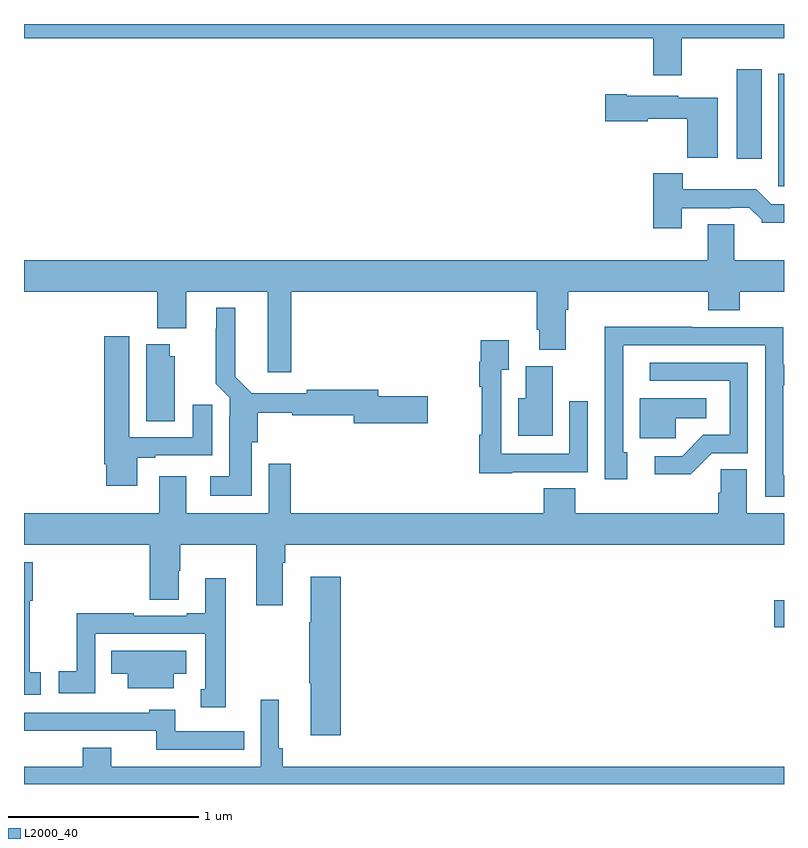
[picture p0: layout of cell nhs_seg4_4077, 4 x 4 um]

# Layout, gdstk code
import gdstk
lib = gdstk.Library(unit=1e-6, precision=1e-09)
def R(c, l, rs):  # rectangles x0, y0, x1, y1
    for r in rs: c.add(gdstk.rectangle(r[:2], r[2:], *l))
def P(c, l, *ps):  # polygons
    for p in ps: c.add(gdstk.Polygon(p, *l))
L2000_40 = (2000, 40)

nhs_seg4_4077 = lib.new_cell('nhs_seg4_4077')
R(nhs_seg4_4077, L2000_40, [(330.948,789.725,331,789.867), (330.971,792.045,331,792.637), (330.752,792.192,330.883,792.661)])
P(nhs_seg4_4077, L2000_40, [(330.463,792.824),(331,792.824),(331,792.9),(327,792.9),(327,792.824),(330.311,792.824),(330.311,792.63),(330.463,792.63)],
  [(330.652,792.511),(330.444,792.511),(330.444,792.523),(330.172,792.523),(330.172,792.531),(330.06,792.531),(330.06,792.389),(330.282,792.389),(330.282,792.401),(330.49,792.401),(330.49,792.197),(330.652,792.197)],
  [(330.463,791.931),(330.719,791.931),(330.719,791.934),(330.818,791.934),(330.882,791.87),(330.882,791.855),(331,791.855),(331,791.952),(330.933,791.952),(330.855,792.031),(330.466,792.031),(330.466,792.115),(330.311,792.115),(330.311,791.826),(330.463,791.826)],
  [(328.406,791.492),(329.699,791.492),(329.699,791.29),(329.711,791.29),(329.711,791.185),(329.851,791.185),(329.851,791.396),(329.864,791.396),(329.864,791.492),(330.602,791.492),(330.602,791.393),(330.767,791.393),(330.767,791.492),(331,791.492),(331,791.656),(330.739,791.656),(330.739,791.846),(330.599,791.846),(330.599,791.656),(327,791.656),(327,791.492),(327.701,791.492),(327.701,791.3),(327.853,791.3),(327.853,791.492),(328.283,791.492),(328.283,791.067),(328.406,791.067)],
  [(328.198,790.698),(328.229,790.698),(328.229,790.855),(328.412,790.855),(328.412,790.84),(328.736,790.84),(328.736,790.798),(329.125,790.798),(329.125,790.94),(328.864,790.94),(328.864,790.976),(328.489,790.976),(328.489,790.956),(328.198,790.956),(328.111,791.044),(328.111,791.407),(328.013,791.407),(328.013,791.297),(328.009,791.297),(328.009,791.006),(328.083,790.932),(328.083,790.838),(328.079,790.838),(328.079,790.519),(327.981,790.519),(327.981,790.418),(328.198,790.418)],
  [(331,790.524),(330.997,790.524),(330.997,790.998),(331,790.998),(331,791.106),(330.996,791.106),(330.996,791.304),(330.518,791.304),(330.518,791.306),(330.056,791.306),(330.056,791.002),(330.057,791.002),(330.057,790.503),(330.175,790.503),(330.175,790.647),(330.153,790.647),(330.153,791.208),(330.9,791.208),(330.9,790.413),(331,790.413)],
  [(327.595,790.617),(327.691,790.617),(327.691,790.629),(327.991,790.629),(327.991,790.897),(327.887,790.897),(327.887,790.725),(327.553,790.725),(327.553,791.257),(327.422,791.257),(327.422,790.582),(327.434,790.582),(327.434,790.47),(327.595,790.47)],
  [(329.571,790.542),(329.967,790.542),(329.967,790.915),(329.871,790.915),(329.871,790.638),(329.511,790.638),(329.511,791.08),(329.551,791.08),(329.551,791.236),(329.403,791.236),(329.403,791.123),(329.395,791.123),(329.395,790.991),(329.41,790.991),(329.41,790.739),(329.395,790.739),(329.395,790.535),(329.571,790.535)],
  [(327.793,791.151),(327.766,791.151),(327.766,791.215),(327.644,791.215),(327.644,790.81),(327.793,790.81)],
  [(330.621,790.641),(330.81,790.641),(330.81,791.118),(330.294,791.118),(330.294,791.022),(330.714,791.022),(330.714,790.737),(330.576,790.737),(330.465,790.626),(330.321,790.626),(330.321,790.529),(330.508,790.529)],
  [(329.782,791.1),(329.642,791.1),(329.642,790.93),(329.6,790.93),(329.6,790.733),(329.782,790.733)],
  [(330.429,790.826),(330.592,790.826),(330.592,790.93),(330.242,790.93),(330.242,790.719),(330.429,790.719)],
  [(328.363,790.064),(328.376,790.064),(328.376,790.16),(331,790.16),(331,790.324),(330.805,790.324),(330.805,790.556),(330.666,790.556),(330.666,790.433),(330.653,790.433),(330.653,790.324),(329.9,790.324),(329.9,790.457),(329.735,790.457),(329.735,790.324),(328.403,790.324),(328.403,790.585),(328.287,790.585),(328.287,790.324),(327.853,790.324),(327.853,790.519),(327.713,790.519),(327.713,790.324),(327,790.324),(327,790.16),(327.662,790.16),(327.662,789.871),(327.814,789.871),(327.814,790.022),(327.822,790.022),(327.822,790.16),(328.223,790.16),(328.223,789.84),(328.363,789.84)],
  [(327.088,789.489),(327.03,789.489),(327.03,789.865),(327.047,789.865),(327.047,790.068),(327,790.068),(327,789.369),(327.088,789.369)],
  [(328.667,789.991),(328.508,789.991),(328.508,789.752),(328.501,789.752),(328.501,789.43),(328.508,789.43),(328.508,789.156),(328.667,789.156)],
  [(328.063,789.982),(327.953,789.982),(327.953,789.799),(327.857,789.799),(327.857,789.786),(327.578,789.786),(327.578,789.799),(327.277,789.799),(327.277,789.494),(327.183,789.494),(327.183,789.378),(327.375,789.378),(327.375,789.69),(327.954,789.69),(327.954,789.399),(327.929,789.399),(327.929,789.305),(328.063,789.305)],
  [(327.787,789.479),(327.853,789.479),(327.853,789.601),(327.46,789.601),(327.46,789.479),(327.545,789.479),(327.545,789.404),(327.787,789.404)],
  [(331,788.992),(328.361,788.992),(328.361,789.088),(328.342,789.088),(328.342,789.343),(328.245,789.343),(328.245,788.992),(327.46,788.992),(327.46,789.091),(327.308,789.091),(327.308,788.992),(327,788.992),(327,788.9),(331,788.9)],
  [(328.16,789.177),(327.796,789.177),(327.796,789.292),(327.66,789.292),(327.66,789.276),(327,789.276),(327,789.179),(327.224,789.179),(327.224,789.18),(327.697,789.18),(327.697,789.081),(328.16,789.081)])

lib.write_gds('nhs_seg4_4077.gds')
